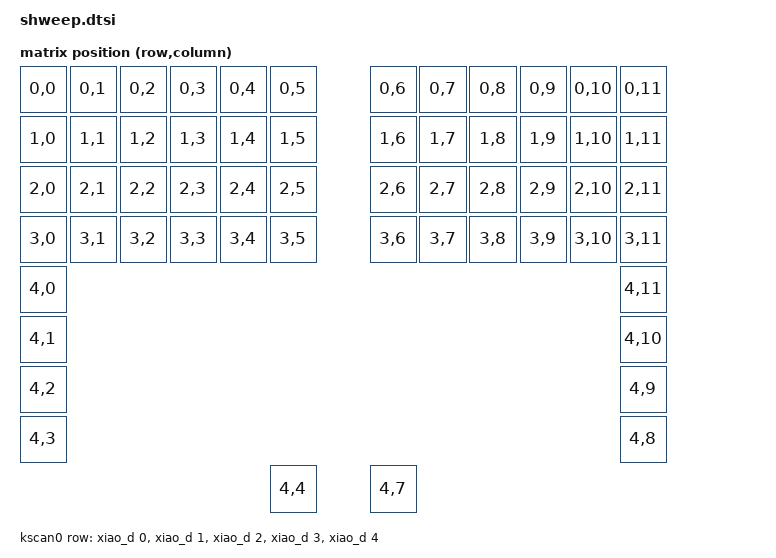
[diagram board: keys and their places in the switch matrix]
#include <dt-bindings/zmk/matrix_transform.h>

/ {
    chosen {
        zmk,kscan = &kscan0;
        zmk,matrix-transform = &default_transform;
    };

    default_transform: keymap_transform_0 {
        compatible = "zmk,matrix-transform";
        columns = <16>;
        rows = <4>;
// | SW1  | SW6  | SW11 | SW16 | SW21 | SW26 |                 | SW1  | SW2  | SW3  | SW4  | SW5  | SW6  |
// | SW2  | SW7  | SW12 | SW17 | SW22 | SW27 |                 | SW7  | SW8  | SW9  | SW10 | SW11 | SW12 |
// | SW3  | SW8  | SW13 | SW18 | SW23 | SW28 |                 | SW13 | SW14 | SW15 | SW16 | SW17 | SW18 |
// | SW4  | SW9  | SW14 | SW19 | SW24 | SW29 |                 | SW19 | SW20 | SW21 | SW22 | SW23 | SW24 |
//                             | SW5  |                               | SW25 |
//                                 | SW10 |                       | SW25 |
//                                    | SW15 |                 | SW25 |
//                                        | SW20 |         | SW15 |
//                                           | SW25 |   | SW25 |

        map = <
RC(0,0) RC(0,1) RC(0,2) RC(0,3) RC(0,4) RC(0,5)                 RC(0,6) RC(0,7) RC(0,8) RC(0,9) RC(0,10) RC(0,11)
RC(1,0) RC(1,1) RC(1,2) RC(1,3) RC(1,4) RC(1,5)                 RC(1,6) RC(1,7) RC(1,8) RC(1,9) RC(1,10) RC(1,11)
RC(2,0) RC(2,1) RC(2,2) RC(2,3) RC(2,4) RC(2,5)                 RC(2,6) RC(2,7) RC(2,8) RC(2,9) RC(2,10) RC(2,11)
RC(3,0) RC(3,1) RC(3,2) RC(3,3) RC(3,4) RC(3,5)                 RC(3,6) RC(3,7) RC(3,8) RC(3,9) RC(3,10) RC(3,11)
                                RC(4,0)                                 RC(4,11)
                                    RC(4,1)                         RC(4,10)
			                RC(4,2)                 RC(4,9)
				            RC(4,3)         RC(4,8)
					        RC(4,4)  RC(4,7)
        >;
    };

    kscan0: kscan {
        compatible = "zmk,kscan-gpio-matrix";
        diode-direction = "col2row";
        wakeup-source;

        row-gpios
            = <&xiao_d 0 (GPIO_ACTIVE_HIGH | GPIO_PULL_DOWN)> // Row A from the schematic file
            , <&xiao_d 1 (GPIO_ACTIVE_HIGH | GPIO_PULL_DOWN)> // Row B from the schematic file
            , <&xiao_d 2 (GPIO_ACTIVE_HIGH | GPIO_PULL_DOWN)> // Row C from the schematic file
            , <&xiao_d 3 (GPIO_ACTIVE_HIGH | GPIO_PULL_DOWN)> // Row D from the schematic file
            , <&xiao_d 4 (GPIO_ACTIVE_HIGH | GPIO_PULL_DOWN)> // Row E from the schematic file
            ;

    };
};
